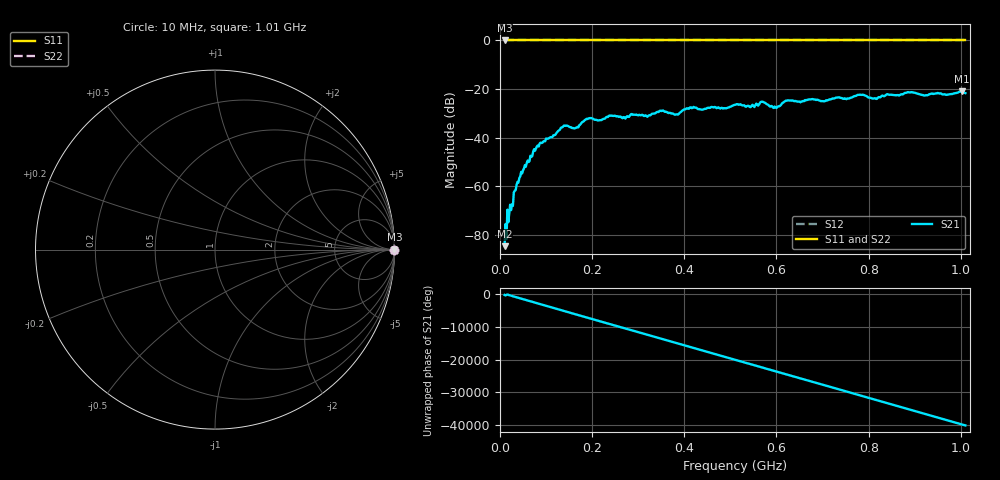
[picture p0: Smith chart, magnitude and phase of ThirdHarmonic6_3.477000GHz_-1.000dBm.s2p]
! 8/17/2025 11:17:57 AM
! C:\ANRITSUVNA\TEMP\TEMP.S2P
! CHANNEL.1
! TR.MEASUREMENT
! RAW.DATA
! RF.CORRECTION.OFF
! AVERAGING.OFF
! IF.BANDWIDTH: 5KHZ
! SWEEPTYPE:  FREQ.SWEEP(Linear)
! Reference Plane Port Info
! PORT:  PORT1  PORT2
! DISTANCE:  0  m  0  m
! TIME:  0  s  0  s
! PHASE.OFFSET:  0  deg.  0  deg.
! LOSS:  0  dB  0  dB
! REF.LOSS:  0  dB  0  dB
! REF.FREQ:  0  Hz  0  Hz
! Power Info
! POWER:  -20  dBm  -20  dBm
! EFF.POWER:  -20  dBm  -20  dBm
! SOURCE.ATTEN:  0  dB  0  dB
! TEST.ATTEN:  0  dB  0  dB
# GHZ S RI R 50.0
! FREQ.GHZ  S11RE  S11IM  S21RE  S21IM  S12RE  S12IM  S22RE  S22IM
!; PortSelection: Port_12
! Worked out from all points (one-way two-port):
!   501 points, 10 MHz to 1.01 GHz, reference 50 ohm
!   highest |S21| = -20.98 dB at 1.002 GHz (marker M1); lowest = -84.7 dB at 10 MHz (marker M2)
!   lowest |S11| = 0.0 dB at 10 MHz (marker M3)
!   |S11| at or under -10 dB: nowhere
!   |S22| runs from 0.0 to 0.0 dB; largest |S21 - S12| = 1.1
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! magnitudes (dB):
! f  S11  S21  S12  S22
! 10 MHz  0.0  -84.7  0.0  0.0
! 34 MHz  0.0  -61.6  0.0  0.0
! 50 MHz  0.0  -53.4  0.0  0.0
! 76 MHz  0.0  -45.4  0.0  0.0
! 136 MHz  0.0  -35.7  0.0  0.0
! 166 MHz  0.0  -35.9  0.0  0.0
! 178 MHz  0.0  -33.7  0.0  0.0
! 196 MHz  0.0  -32.0  0.0  0.0
! 322 MHz  0.0  -30.9  0.0  0.0
! 344 MHz  0.0  -29.4  0.0  0.0
! 382 MHz  0.0  -30.4  0.0  0.0
! 416 MHz  0.0  -27.9  0.0  0.0
! 510 MHz  0.0  -26.5  0.0  0.0
! 570 MHz  0.0  -25.2  0.0  0.0
! 596 MHz  0.0  -27.2  0.0  0.0
! 622 MHz  0.0  -24.8  0.0  0.0
! 678 MHz  0.0  -24.1  0.0  0.0
! 782 MHz  0.0  -22.3  0.0  0.0
! 814 MHz  0.0  -23.8  0.0  0.0
! 844 MHz  0.0  -22.4  0.0  0.0
! 1.002 GHz  0.0  -21.0  0.0  0.0
! 1.01 GHz  0.0  -21.7  0.0  0.0
